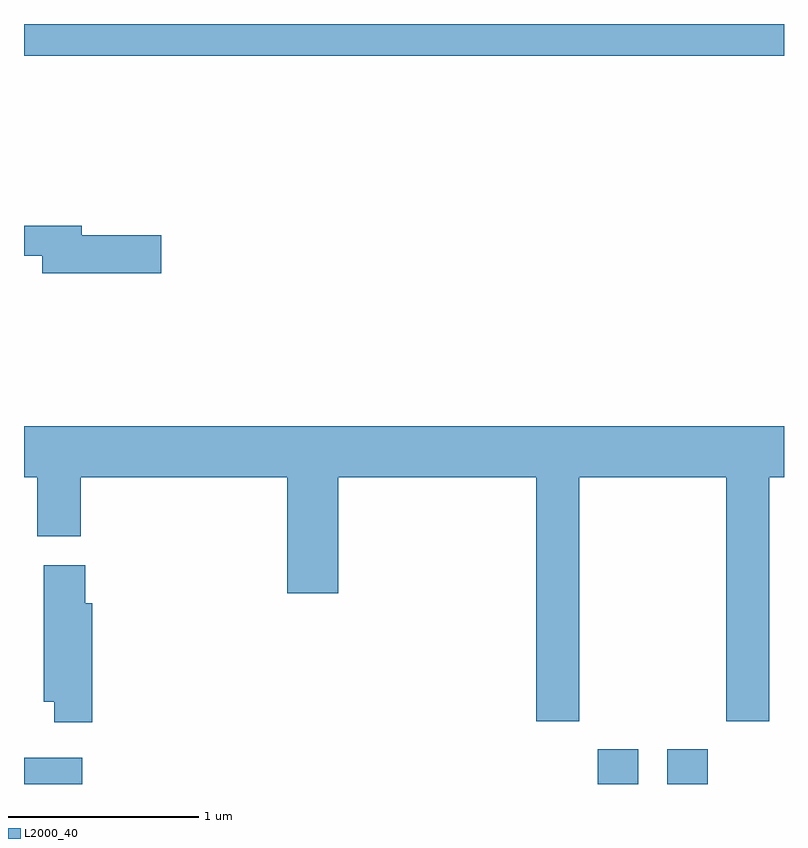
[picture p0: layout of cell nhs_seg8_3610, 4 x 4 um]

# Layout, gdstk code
import gdstk
lib = gdstk.Library(unit=1e-6, precision=1e-09)
def R(c, l, rs):  # rectangles x0, y0, x1, y1
    for r in rs: c.add(gdstk.rectangle(r[:2], r[2:], *l))
def P(c, l, *ps):  # polygons
    for p in ps: c.add(gdstk.Polygon(p, *l))
L2000_40 = (2000, 40)

nhs_seg8_3610 = lib.new_cell('nhs_seg8_3610')
R(nhs_seg8_3610, L2000_40, [(293.611,1850.342,293.918,1850.479), (296.631,1850.342,296.844,1850.524), (296.996,1850.342,297.209,1850.524), (293.611,1854.176,297.611,1854.342)])
P(nhs_seg8_3610, L2000_40, [(294.334,1853.229),(293.914,1853.229),(293.914,1853.279),(293.611,1853.279),(293.611,1853.121),(293.706,1853.121),(293.706,1853.031),(294.334,1853.031)],
  [(293.611,1851.956),(293.681,1851.956),(293.681,1851.646),(293.909,1851.646),(293.909,1851.956),(294.996,1851.956),(294.996,1851.346),(295.264,1851.346),(295.264,1851.956),(296.306,1851.956),(296.306,1850.671),(296.534,1850.671),(296.534,1851.956),(297.306,1851.956),(297.306,1850.671),(297.534,1850.671),(297.534,1851.956),(297.611,1851.956),(297.611,1852.224),(293.611,1852.224)],
  [(293.969,1851.294),(293.934,1851.294),(293.934,1851.494),(293.716,1851.494),(293.716,1850.776),(293.771,1850.776),(293.771,1850.666),(293.969,1850.666)])

lib.write_gds('nhs_seg8_3610.gds')
